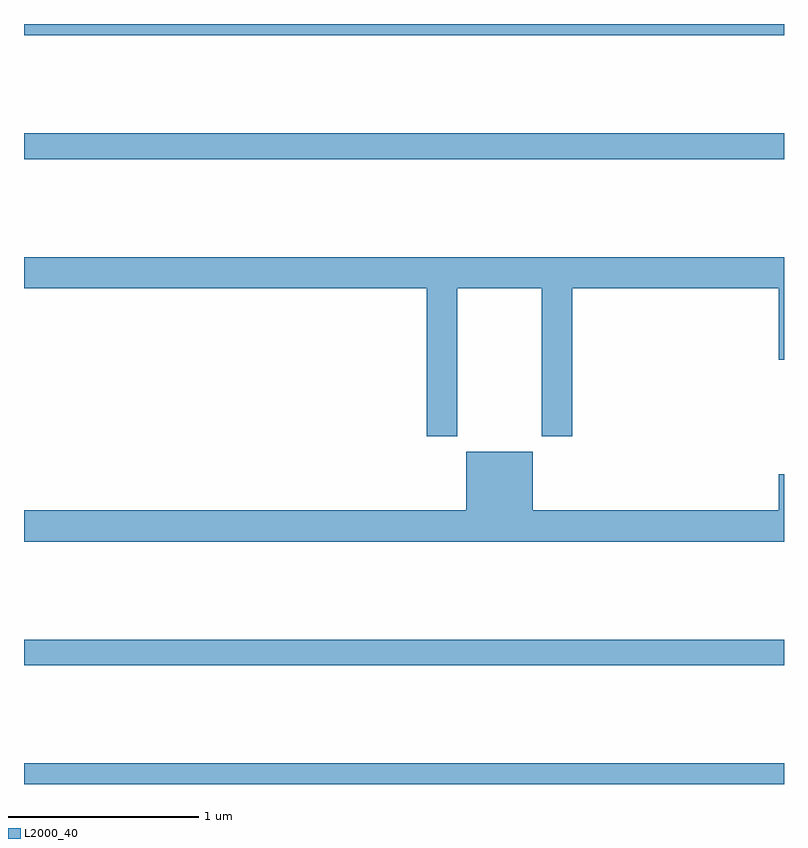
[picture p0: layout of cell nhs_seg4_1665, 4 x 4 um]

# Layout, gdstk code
import gdstk
lib = gdstk.Library(unit=1e-6, precision=1e-09)
def R(c, l, rs):  # rectangles x0, y0, x1, y1
    for r in rs: c.add(gdstk.rectangle(r[:2], r[2:], *l))
def P(c, l, *ps):  # polygons
    for p in ps: c.add(gdstk.Polygon(p, *l))
L2000_40 = (2000, 40)

nhs_seg4_1665 = lib.new_cell('nhs_seg4_1665')
R(nhs_seg4_1665, L2000_40, [(197,772.9,201,773.008), (197,773.524,201,773.66), (197,776.188,201,776.324), (197,776.84,201,776.9)])
P(nhs_seg4_1665, L2000_40, [(199.281,775.508),(199.726,775.508),(199.726,774.729),(199.886,774.729),(199.886,775.508),(200.972,775.508),(200.972,775.134),(201,775.134),(201,775.672),(197,775.672),(197,775.508),(199.121,775.508),(199.121,774.729),(199.281,774.729)],
  [(201,774.529),(200.972,774.529),(200.972,774.34),(199.678,774.34),(199.678,774.649),(199.328,774.649),(199.328,774.34),(197,774.34),(197,774.176),(201,774.176)])

lib.write_gds('nhs_seg4_1665.gds')
